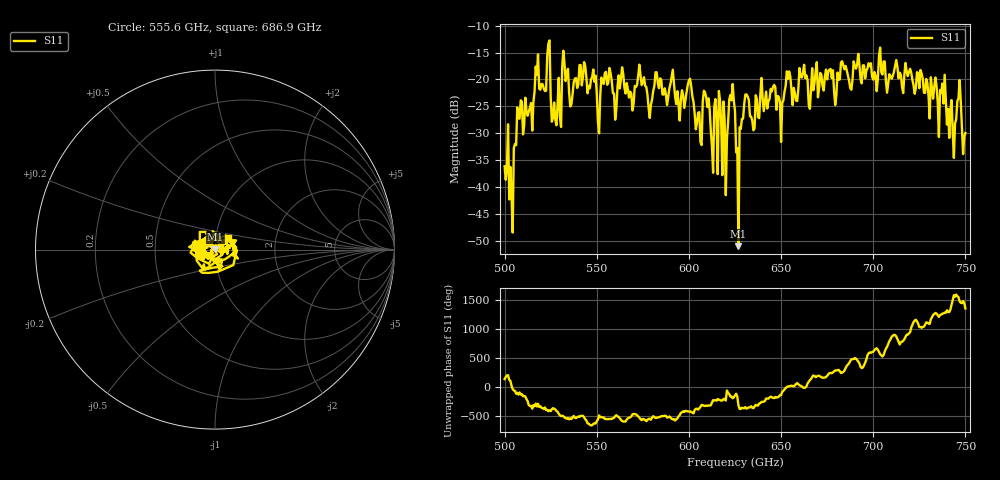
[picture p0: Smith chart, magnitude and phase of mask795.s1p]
!Created with skrf (http://scikit-rf.org).
# GHz S MA R 50.0
!freq magS11 angS11
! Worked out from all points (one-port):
!   401 points, 500 GHz to 750 GHz, reference 50 ohm
!   lowest |S11| = -51.0 dB at 626.9 GHz (marker M1), VSWR 1.01, Z = 50.2 + j0.173 ohm
!   |S11| at or under -10 dB: start of sweep to end of sweep
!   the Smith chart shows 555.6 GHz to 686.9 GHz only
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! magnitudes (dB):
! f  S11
! 500 GHz  -36.1
! 503.8 GHz  -41.4
! 508.1 GHz  -27.3
! 513.8 GHz  -25.2
! 517.5 GHz  -19.2
! 523.8 GHz  -13.3
! 526.9 GHz  -24.3
! 531.2 GHz  -17.6
! 542.5 GHz  -19.5
! 551.2 GHz  -30.0
! 562.5 GHz  -21.6
! 593.8 GHz  -22.2
! 600.6 GHz  -19.9
! 605.6 GHz  -26.1
! 609.4 GHz  -23.3
! 619.4 GHz  -27.6
! 623.1 GHz  -23.9
! 625 GHz  -25.8
! 626.9 GHz  -51.0
! 631.2 GHz  -22.8
! 634.4 GHz  -27.7
! 656.2 GHz  -24.8
! 687.5 GHz  -21.6
! 718.8 GHz  -19.4
! 737.5 GHz  -20.8
! 742.5 GHz  -23.8
! 746.2 GHz  -23.5
! 750 GHz  -30.0
